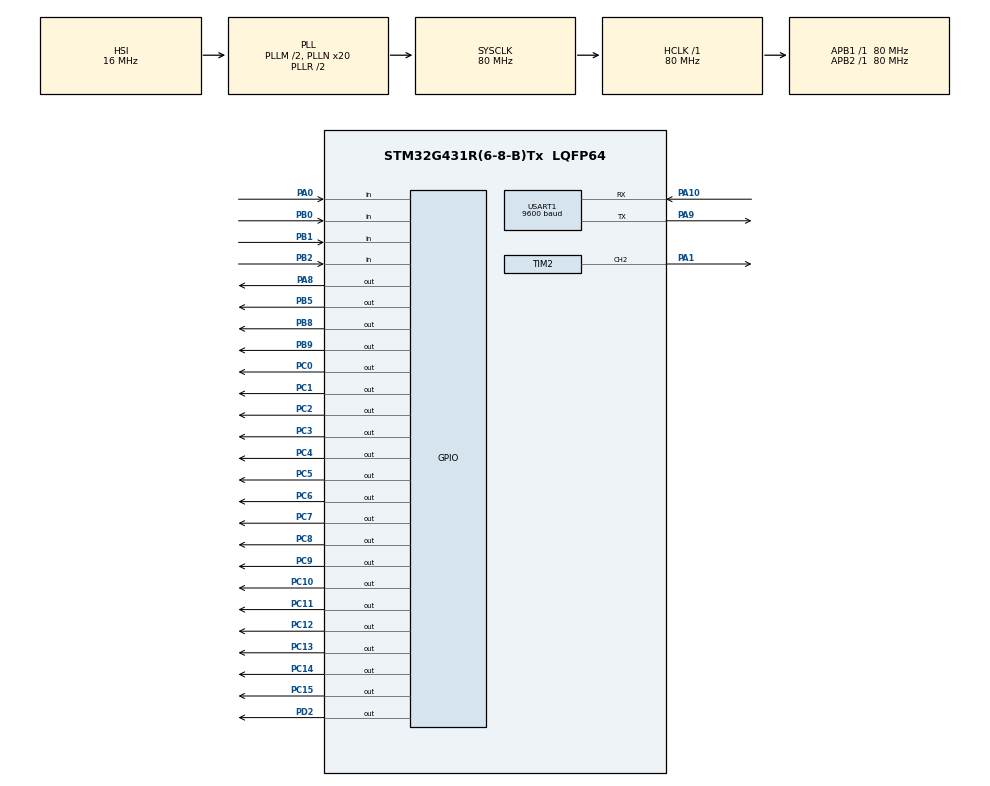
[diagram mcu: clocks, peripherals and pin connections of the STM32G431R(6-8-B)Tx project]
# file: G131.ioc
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Mcu.Family=STM32G4
Mcu.Name=STM32G431R(6-8-B)Tx
Mcu.Package=LQFP64
NVIC.PriorityGroup=NVIC_PRIORITYGROUP_4
NVIC.TIM1_BRK_TIM15_IRQn=true\:0\:0\:false\:false\:true\:true\:true\:true
NVIC.USART1_IRQn=true\:0\:0\:false\:false\:true\:true\:true\:true
PA0.Signal=GPIO_Input
PA1.Signal=S_TIM2_CH2
PA10.Mode=Asynchronous
PA10.Signal=USART1_RX
PA8.Signal=GPIO_Output
PA9.Mode=Asynchronous
PA9.Signal=USART1_TX
PB0.Signal=GPIO_Input
PB1.Signal=GPIO_Input
PB2.Signal=GPIO_Input
PB5.Signal=GPIO_Output
PB8-BOOT0.Signal=GPIO_Output
PB9.Signal=GPIO_Output
PC0.Signal=GPIO_Output
PC1.Signal=GPIO_Output
PC10.Signal=GPIO_Output
PC11.Signal=GPIO_Output
PC12.Signal=GPIO_Output
PC13.Signal=GPIO_Output
PC14-OSC32_IN.Signal=GPIO_Output
PC15-OSC32_OUT.Signal=GPIO_Output
PC2.Signal=GPIO_Output
PC3.Signal=GPIO_Output
PC4.Signal=GPIO_Output
PC5.Signal=GPIO_Output
PC6.Signal=GPIO_Output
PC7.Signal=GPIO_Output
PC8.Signal=GPIO_Output
PC9.Signal=GPIO_Output
PD2.Signal=GPIO_Output
PF0-OSC_IN.Mode=HSE-External-Oscillator
PF0-OSC_IN.Signal=RCC_OSC_IN
PF1-OSC_OUT.Mode=HSE-External-Oscillator
PF1-OSC_OUT.Signal=RCC_OSC_OUT
ProjectManager.HeapSize=0x200
ProjectManager.StackSize=0x400
ProjectManager.TargetToolchain=MDK-ARM V5
RCC.ADC12Freq_Value=80000000
RCC.AHBFreq_Value=80000000
RCC.APB1Freq_Value=80000000
RCC.APB1TimFreq_Value=80000000
RCC.APB2Freq_Value=80000000
RCC.APB2TimFreq_Value=80000000
RCC.CortexFreq_Value=80000000
RCC.EXTERNAL_CLOCK_VALUE=12288000
RCC.HCLKFreq_Value=80000000
RCC.HSE_VALUE=24000000
RCC.HSI48_VALUE=48000000
RCC.HSI_VALUE=16000000
RCC.LSE_VALUE=32768
RCC.PLLM=RCC_PLLM_DIV2
RCC.PLLN=20
RCC.SYSCLKFreq_VALUE=80000000
RCC.SYSCLKSource=RCC_SYSCLKSOURCE_PLLCLK
RCC.USBFreq_Value=80000000
RCC.VCOOutputFreq_Value=160000000
SH.S_TIM2_CH2.0=TIM2_CH2,PWM Generation2 CH2
TIM15.AutoReloadPreload=TIM_AUTORELOAD_PRELOAD_ENABLE
TIM15.PeriodNoDither=999
TIM15.Prescaler=7999
TIM2.AutoReloadPreload=TIM_AUTORELOAD_PRELOAD_ENABLE
TIM2.Channel-PWM\ Generation2\ CH2=TIM_CHANNEL_2
TIM2.PeriodNoDither=999
TIM2.Prescaler=79
TIM2.PulseNoDither_2=500
USART1.BaudRate=9600
USART1.VirtualMode-Asynchronous=VM_ASYNC
VP_SYS_VS_DBSignals.Mode=DisableDeadBatterySignals
VP_TIM15_VS_ClockSourceINT.Mode=Internal
board=custom

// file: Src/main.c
/* USER CODE BEGIN Header */
/**
  ******************************************************************************
  * @file           : main.c
  * @brief          : Main program body
  ******************************************************************************
  * @attention
  *
  * <h2><center>&copy; Copyright (c) 2021 STMicroelectronics.
  * All rights reserved.</center></h2>
  *
  * This software component is licensed by ST under BSD 3-Clause license,
  * the "License"; You may not use this file except in compliance with the
  * License. You may obtain a copy of the License at:
  *                        opensource.org/licenses/BSD-3-Clause
  *
  ******************************************************************************
  */
/* USER CODE END Header */

#include "main.h"
#include "tim.h"
#include "usart.h"
#include "gpio.h"

/* USER CODE BEGIN Includes */
#include "led.h"
#include "key.h"
#include "stdio.h"
#include "string.h"

/* USER CODE END Includes */

void SystemClock_Config(void);

/* USER CODE BEGIN 0 */

#define Display_PSD 0
#define Display_STA 1

u8 Display_Mode = 0;

//1
//为了减少标志位，这里可以用负数形式
int B1_set = -1;
int B2_set = -1;
int B3_set = -1;

int PSD[3] = {1,2,3};

//2
u32 F = 1000;
double D = 0.5;

//切回

//LED
u8 led_ctrl = 0x00; //在某些函数里可以直接操作led_ctrl，因此将该变量放在最前面
u8 error_cnt = 0;
_Bool led2_flag = 0;
extern u32 led2_cnt;
void LED_Process(void)
{

	Led_Control(led_ctrl);
}

//KEY
uint32_t keyTick = 0;
uint32_t pwmTick = 0;//不用定时器方法
_Bool pwm_flag = 0;
void Key_Process(void)
{
	if(uwTick - keyTick < 20) return;
	keyTick = uwTick;
	Key_Read();

	if(Trg & 0x01)
	{
		if(Display_Mode == Display_PSD)
		{
			B1_set+=1;
			if(B1_set == 10)
				B1_set = 0;
		}
	}

	if(Trg & 0x02)
	{
		if(Display_Mode == Display_PSD)
		{
			B2_set+=1;
			if(B2_set == 10)
				B2_set = 0;
		}
	}

	if(Trg & 0x04)
	{
		if(Display_Mode == Display_PSD)
		{
			B3_set+=1;
			if(B3_set == 10)
				B3_set = 0;
		}
	}

	if(Trg & 0x08)
	{
		Display_Mode = (Display_Mode + 1)%2;
		if(Display_Mode == Display_STA)
		{
			if(PSD[0] == B1_set && PSD[1] == B2_set && PSD[2] == B3_set)//密码正确
			{

				LCD_Clear(Black);
				B1_set = -1;
				B2_set = -1;
				B3_set = -1;

//				pwmTick = uwTick;
				pwm_flag = 1;

				led_ctrl |= 0x01;
				F = 2000;
				D =0.1;

			}
			else  //密码错误
			{
				Display_Mode = Display_PSD;
				B1_set = -1;
				B2_set = -1;
				B3_set = -1;
				error_cnt++;
				if(error_cnt == 3)
				{
					error_cnt = 0;
					led2_flag = 1;
					led2_cnt = 0;//错内错，从头计时

				}
			}
		}

		else if(Display_Mode == Display_PSD)
		{
			LCD_Clear(Black);
			B1_set = -1;
			B2_set = -1;
			B3_set = -1;
		}

	}
}

//PA1
void PWM_Process(void)
{

	TIM2->ARR = 1e6/F;
	TIM2->CCR2 = (TIM2->ARR + 1)*D;
}

//串口

//发

int fputc(int ch, FILE *f)
{
  /* Your implementation of fputc(). */
	HAL_UART_Transmit(&huart1,(u8 *)&ch,1,50);
  return ch;
}

//收
u8 uart_buf[2];
u8 rx_buf[100];
u8 rx_cnt = 0;

uint32_t uartTick = 0;
void Rx_Idle(void)
{
	if(uwTick - uartTick < 50) return;
	uartTick = uwTick;

	if(rx_cnt > 0)
	{
		rx_cnt = 0;
		memset(rx_buf,'\0',sizeof(rx_buf));
	}
}

//格式检查
//123-789
//0123456
u8 Check_Form(u8* str)
{
	u8 i;
	for(i = 0;i<7;i++)
	{
		if(i == 3)
		{
			if(str[i] != '-')
				return 0;
		}
		else
		{
			if(str[i] >='0'&& str[i] <='9')
			{
			}
			else
				return 0;
		}
	}
	return 1;
}

//123-789
//0123456
void HAL_UART_RxCpltCallback(UART_HandleTypeDef *huart)
{
	uartTick = uwTick;
	HAL_UART_Receive_IT(&huart1,uart_buf,1);

	rx_buf[rx_cnt++] = uart_buf[0];
	if(rx_cnt == 7)
	{
		rx_cnt = 0;
		if(Check_Form(rx_buf))
		{
			if((rx_buf[0] - '0') == PSD[0] && (rx_buf[1] - '0')== PSD[1] && (rx_buf[2]- '0') == PSD[2])
			{
				PSD[0] = rx_buf[4] - '0';
				PSD[1] = rx_buf[5] - '0';
				PSD[2] = rx_buf[6] - '0';
			}
		}
		memset(rx_buf,'\0',sizeof(rx_buf));
	}
}

//LCD
uint32_t lcdTick = 0;
void LCD_Process(void)
{
	if(uwTick - lcdTick < 100) return;
	lcdTick = uwTick;

//	if(uwTick - pwmTick > 5000 && pwm_flag == 1)//不用定时器方法，定时一段时间需要有标志位
//	{
//		F = 1000;
//		D = 0.5;
//		pwm_flag = 0;
//	}
//

	u8 display_buf[30];

	if(Display_Mode == Display_PSD)
	{
		sprintf((char * )display_buf,"       PSD");
		LCD_DisplayStringLine(Line1,display_buf);

		if(B1_set == -1)
			sprintf((char * )display_buf,"    B1:@");
		else
			sprintf((char * )display_buf,"    B1:%d",B1_set);
		LCD_DisplayStringLine(Line3,display_buf);

		if(B2_set == -1)
			sprintf((char * )display_buf,"    B2:@");
		else
			sprintf((char * )display_buf,"    B2:%d",B2_set);
		LCD_DisplayStringLine(Line4,display_buf);

		if(B3_set == -1)
			sprintf((char * )display_buf,"    B3:@");
		else
			sprintf((char * )display_buf,"    B3:%d",B3_set);
		LCD_DisplayStringLine(Line5,display_buf);

	}
	if(Display_Mode == Display_STA)
	{
		sprintf((char * )display_buf,"       STA");
		LCD_DisplayStringLine(Line1,display_buf);

		sprintf((char * )display_buf,"    F:%-dHz",F);
		LCD_DisplayStringLine(Line3,display_buf);

		sprintf((char * )display_buf,"    D:%.0f%%",D*100);
		LCD_DisplayStringLine(Line4,display_buf);

	}

}

//TIM15 100ms
//u32 cnt = 0;
u32 pwm_cnt = 0;
u32 led2_cnt = 0;
void HAL_TIM_PeriodElapsedCallback(TIM_HandleTypeDef *htim)
{
	if(htim == &htim15)
	{
		//PWM
		if(pwm_flag == 1)
		{
			pwm_cnt++;
			if(pwm_cnt == 50)
			{
				pwm_cnt = 0;
				pwm_flag = 0;
				F = 1000;
				D = 0.5;
				led_ctrl &=~0x01;
			}
		}

		//led2
		if(led2_flag == 1)
		{
			led2_cnt++;
			led_ctrl^= 0x02;//间隔闪烁
			if(led2_cnt == 50)
			{
				led_ctrl &=~0x02;
				led2_cnt = 0;
				led2_flag = 0;
			}

		}

	}

}

//systick
void SysTick_Handler(void)
{
  /* USER CODE BEGIN SysTick_IRQn 0 */

  /* USER CODE END SysTick_IRQn 0 */
  HAL_IncTick();
  /* USER CODE BEGIN SysTick_IRQn 1 */
		//PWM
//		if(pwm_flag == 1)
//		{
//			pwm_cnt++;
//			if(pwm_cnt == 5000)
//			{
//				pwm_cnt = 0;
//				pwm_flag = 0;
//				F = 1000;
//				D = 0.5;
//			}
//		}

  /* USER CODE END SysTick_IRQn 1 */
}

/* USER CODE END 0 */

int main(void)
{

  /* MCU Configuration--------------------------------------------------------*/

  /* Reset of all peripherals, Initializes the Flash interface and the Systick. */
  HAL_Init();

  /* Configure the system clock */
  SystemClock_Config();

  /* Initialize all configured peripherals */
  MX_GPIO_Init();
  MX_TIM2_Init();
  MX_USART1_UART_Init();
  MX_TIM15_Init();
  /* USER CODE BEGIN 2 */

    LCD_Init();

		//PWM
		HAL_TIM_PWM_Start(&htim2,TIM_CHANNEL_2);

		//UART
		HAL_UART_Receive_IT(&huart1,uart_buf,1);

		//TIM15
		HAL_TIM_Base_Start_IT(&htim15);

  /* USER CODE END 2 */

  /* Infinite loop */
  /* USER CODE BEGIN WHILE */

    LCD_Clear(Black);
    LCD_SetBackColor(Black);
    LCD_SetTextColor(White);

//    LCD_DrawLine(120, 0, 320, Horizontal);
//    LCD_DrawLine(0, 160, 240, Vertical);
//    HAL_Delay(1000);
//    LCD_Clear(Blue);

//    LCD_DrawRect(70, 210, 100, 100);
//    HAL_Delay(1000);
//    LCD_Clear(Blue);

//    LCD_DrawCircle(120, 160, 50);
//    HAL_Delay(1000);

//    LCD_Clear(Blue);
//    LCD_DisplayStringLine(Line4, (unsigned char *)"    Hello,world.   ");
//    HAL_Delay(1000);

//    LCD_SetBackColor(White);
//    LCD_DisplayStringLine(Line0, (unsigned char *)"                    ");
//    LCD_SetBackColor(Black);
//    LCD_DisplayStringLine(Line1, (unsigned char *)"                    ");
//    LCD_SetBackColor(Grey);
//    LCD_DisplayStringLine(Line2, (unsigned char *)"                    ");
//    LCD_SetBackColor(Blue);
//    LCD_DisplayStringLine(Line3, (unsigned char *)"                    ");
//    LCD_SetBackColor(Blue2);
//    LCD_DisplayStringLine(Line4, (unsigned char *)"                    ");
//    LCD_SetBackColor(Red);
//    LCD_DisplayStringLine(Line5, (unsigned char *)"                    ");
//    LCD_SetBackColor(Magenta);
//    LCD_DisplayStringLine(Line6, (unsigned char *)"                    ");
//    LCD_SetBackColor(Green);
//    LCD_DisplayStringLine(Line7, (unsigned char *)"                    ");
//    LCD_SetBackColor(Cyan);
//    LCD_DisplayStringLine(Line8, (unsigned char *)"                    ");
//    LCD_SetBackColor(Yellow);
//    LCD_DisplayStringLine(Line9, (unsigned char *)"                    ");
		Led_Control(0x00);
		//printf("你好世界\r\n");
    while (1)
    {
    /* USER CODE END WHILE */

    /* USER CODE BEGIN 3 */
			Key_Process();
			PWM_Process();
			LCD_Process();
			LED_Process();
    }
  /* USER CODE END 3 */
}

void SystemClock_Config(void)
{
  RCC_OscInitTypeDef RCC_OscInitStruct = {0};
  RCC_ClkInitTypeDef RCC_ClkInitStruct = {0};
  RCC_PeriphCLKInitTypeDef PeriphClkInit = {0};

  /** Configure the main internal regulator output voltage
  */
  HAL_PWREx_ControlVoltageScaling(PWR_REGULATOR_VOLTAGE_SCALE1);
  /** Initializes the CPU, AHB and APB busses clocks
  */
  RCC_OscInitStruct.OscillatorType = RCC_OSCILLATORTYPE_HSI;
  RCC_OscInitStruct.HSIState = RCC_HSI_ON;
  RCC_OscInitStruct.HSICalibrationValue = RCC_HSICALIBRATION_DEFAULT;
  RCC_OscInitStruct.PLL.PLLState = RCC_PLL_ON;
  RCC_OscInitStruct.PLL.PLLSource = RCC_PLLSOURCE_HSI;
  RCC_OscInitStruct.PLL.PLLM = RCC_PLLM_DIV2;
  RCC_OscInitStruct.PLL.PLLN = 20;
  RCC_OscInitStruct.PLL.PLLP = RCC_PLLP_DIV2;
  RCC_OscInitStruct.PLL.PLLQ = RCC_PLLQ_DIV2;
  RCC_OscInitStruct.PLL.PLLR = RCC_PLLR_DIV2;
  if (HAL_RCC_OscConfig(&RCC_OscInitStruct) != HAL_OK)
  {
    Error_Handler();
  }
  /** Initializes the CPU, AHB and APB busses clocks
  */
  RCC_ClkInitStruct.ClockType = RCC_CLOCKTYPE_HCLK|RCC_CLOCKTYPE_SYSCLK
                              |RCC_CLOCKTYPE_PCLK1|RCC_CLOCKTYPE_PCLK2;
  RCC_ClkInitStruct.SYSCLKSource = RCC_SYSCLKSOURCE_PLLCLK;
  RCC_ClkInitStruct.AHBCLKDivider = RCC_SYSCLK_DIV1;
  RCC_ClkInitStruct.APB1CLKDivider = RCC_HCLK_DIV1;
  RCC_ClkInitStruct.APB2CLKDivider = RCC_HCLK_DIV1;

  if (HAL_RCC_ClockConfig(&RCC_ClkInitStruct, FLASH_LATENCY_3) != HAL_OK)
  {
    Error_Handler();
  }
  /** Initializes the peripherals clocks
  */
  PeriphClkInit.PeriphClockSelection = RCC_PERIPHCLK_USART1;
  PeriphClkInit.Usart1ClockSelection = RCC_USART1CLKSOURCE_PCLK2;
  if (HAL_RCCEx_PeriphCLKConfig(&PeriphClkInit) != HAL_OK)
  {
    Error_Handler();
  }
}

void Error_Handler(void)
{
}

/************************ (C) COPYRIGHT STMicroelectronics *****END OF FILE****/
